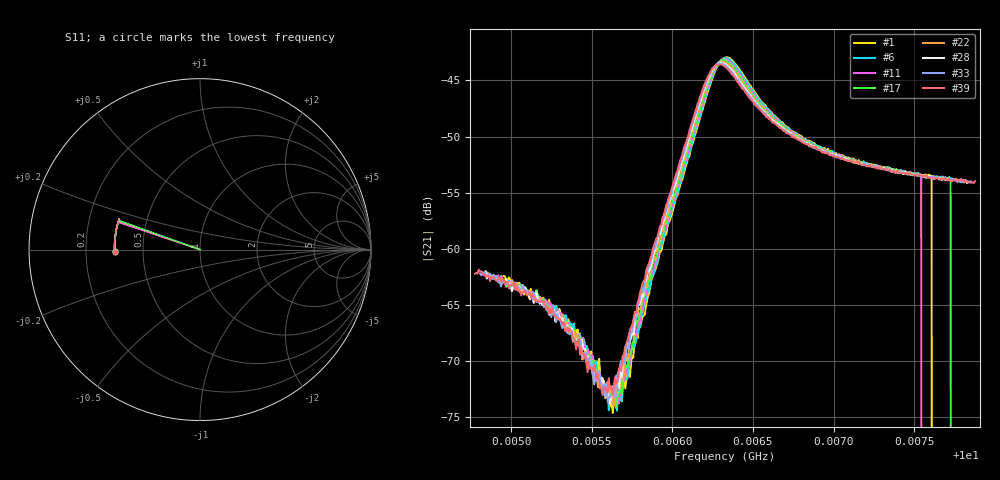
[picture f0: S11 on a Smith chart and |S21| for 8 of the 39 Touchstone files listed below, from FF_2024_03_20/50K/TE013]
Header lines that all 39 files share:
#  HZ  S  RI  R  50.00
! Rohde & Schwarz Vector Network Analyzer
! Rohde-Schwarz,ZNB20-2Port,1311601062101988,3.16
! freq[Hz]  re:S11  im:S11  re:S21  im:S21  re:S12  im:S12  re:S22  im:S22
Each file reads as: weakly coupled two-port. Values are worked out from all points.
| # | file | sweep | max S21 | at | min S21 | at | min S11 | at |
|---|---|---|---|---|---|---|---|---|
| 1 | 280_3_48.2016_50.1059303_72928.719_760.2619030475616_.s2p | 10.00495 GHz to 10.00778 GHz | -42.93 dB | 10.00634 GHz | -74.6 dB | 10.00563 GHz | -6.0 dB | 10.00498 GHz |
| 2 | 281_3_48.2016_50.1055565_73180.703_762.681155204773_.s2p | 10.00495 GHz to 10.00778 GHz | -42.94 dB | 10.00634 GHz | -74.7 dB | 10.00565 GHz | -6.0 dB | 10.00495 GHz |
| 3 | 282_3_48.201_50.1050186_73422.531_765.1038317680359_.s2p | 10.00494 GHz to 10.00778 GHz | -42.94 dB | 10.00633 GHz | -74.2 dB | 10.00565 GHz | -6.0 dB | 10.00497 GHz |
| 4 | 283_3_48.2015_50.1040344_73664.086_767.5409955978394_.s2p | 10.00495 GHz to 10.00777 GHz | -42.98 dB | 10.00633 GHz | -73.8 dB | 10.00565 GHz | -6.0 dB | 10.00495 GHz |
| 5 | 284_3_48.1993_50.1053238_73916.156_769.9635326862335_.s2p | 10.00493 GHz to 10.00779 GHz | -42.99 dB | 10.00633 GHz | -73.9 dB | 10.00566 GHz | -6.0 dB | 10.00493 GHz |
| 6 | 285_3_48.1993_50.104187_74148.023_772.3826024532318_.s2p | 10.00492 GHz to 10.0078 GHz | -42.99 dB | 10.00632 GHz | -74.4 dB | 10.00566 GHz | -6.0 dB | 10.00494 GHz |
| 7 | 286_3_48.203_50.1043396_74409.852_774.8032379150391_.s2p | 10.00493 GHz to 10.00778 GHz | -43.01 dB | 10.00634 GHz | -74.1 dB | 10.00564 GHz | -6.0 dB | 10.00495 GHz |
| 8 | 287_3_48.2012_50.1038857_74651.508_777.2969701290131_.s2p | 10.00494 GHz to 10.00778 GHz | -43.04 dB | 10.00632 GHz | -74.3 dB | 10.00562 GHz | -6.0 dB | 10.00495 GHz |
| 9 | 289_3_48.1975_50.1038742_75135.766_782.1004960536957_.s2p | 10.0049 GHz to 10.00781 GHz | -43.06 dB | 10.00633 GHz | -73.7 dB | 10.00562 GHz | -6.0 dB | 10.00491 GHz |
| 10 | 290_3_48.2024_50.1050835_75377.344_784.5466079711914_.s2p | 10.00491 GHz to 10.0078 GHz | -43.07 dB | 10.00633 GHz | -74.3 dB | 10.0056 GHz | -6.0 dB | 10.00493 GHz |
| 11 | 291_3_48.1992_50.1037941_75619.227_786.9477670192719_.s2p | 10.00491 GHz to 10.0078 GHz | -43.11 dB | 10.00632 GHz | -73.9 dB | 10.00563 GHz | -6.0 dB | 10.00491 GHz |
| 12 | 292_3_48.2014_50.1015129_75861.344_789.3695640563965_.s2p | 10.00489 GHz to 10.00782 GHz | -43.09 dB | 10.00632 GHz | -74.3 dB | 10.00559 GHz | -6.0 dB | 10.00489 GHz |
| 13 | 293_3_48.1998_50.1031914_76113.203_791.7683897018433_.s2p | 10.00491 GHz to 10.00779 GHz | -43.14 dB | 10.00632 GHz | -74.8 dB | 10.0056 GHz | -6.0 dB | 10.00493 GHz |
| 14 | 294_3_48.2014_50.1028099_76345.18_794.1887664794922_.s2p | 10.00489 GHz to 10.00781 GHz | -43.14 dB | 10.00632 GHz | -73.9 dB | 10.00567 GHz | -6.0 dB | 10.00491 GHz |
| 15 | 295_3_48.202_50.103569_76596.664_796.5899379253387_.s2p | 10.00489 GHz to 10.00781 GHz | -43.17 dB | 10.00633 GHz | -74.2 dB | 10.00564 GHz | -6.0 dB | 10.00493 GHz |
| 16 | 296_3_48.2015_50.1018181_76828.344_799.0362799167633_.s2p | 10.00488 GHz to 10.00782 GHz | -43.17 dB | 10.00631 GHz | -73.7 dB | 10.00563 GHz | -6.0 dB | 10.00489 GHz |
| 17 | 297_3_48.2031_50.1015892_77080.898_801.4480111598969_.s2p | 10.0049 GHz to 10.0078 GHz | -43.17 dB | 10.00632 GHz | -74.2 dB | 10.00565 GHz | -6.0 dB | 10.00492 GHz |
| 18 | 298_3_48.1983_50.1020432_77333.07_803.8813364505768_.s2p | 10.00489 GHz to 10.00781 GHz | -43.23 dB | 10.00633 GHz | -73.9 dB | 10.00562 GHz | -6.0 dB | 10.00492 GHz |
| 19 | 299_3_48.1989_50.1002235_78159.195_812.0703468322754_.s2p | 10.00486 GHz to 10.00784 GHz | -43.23 dB | 10.00631 GHz | -74.1 dB | 10.00565 GHz | -6.0 dB | 10.00487 GHz |
| 20 | 300_3_48.2016_50.09795_78411.172_814.4922721385956_.s2p | 10.00488 GHz to 10.00781 GHz | -43.28 dB | 10.00632 GHz | -74.5 dB | 10.00562 GHz | -6.0 dB | 10.00489 GHz |
| 21 | 301_3_48.1989_50.0987854_78643.352_816.9144153594971_.s2p | 10.00486 GHz to 10.00783 GHz | -43.28 dB | 10.0063 GHz | -73.7 dB | 10.00563 GHz | -6.0 dB | 10.00488 GHz |
| 22 | 302_3_48.2_50.0992393_78905.156_819.5056416988373_.s2p | 10.00485 GHz to 10.00783 GHz | -43.30 dB | 10.00631 GHz | -73.9 dB | 10.00564 GHz | -6.0 dB | 10.00487 GHz |
| 23 | 303_3_48.201_50.0978012_79166.859_821.9405863285065_.s2p | 10.00484 GHz to 10.00784 GHz | -43.32 dB | 10.00632 GHz | -74.0 dB | 10.00565 GHz | -6.0 dB | 10.00487 GHz |
| 24 | 304_3_48.2016_50.1008339_79378.75_824.3809213638306_.s2p | 10.00485 GHz to 10.00782 GHz | -43.32 dB | 10.0063 GHz | -74.2 dB | 10.00562 GHz | -6.0 dB | 10.00486 GHz |
| 25 | 305_3_48.1968_50.0987091_79640.563_826.8035969734192_.s2p | 10.00483 GHz to 10.00784 GHz | -43.34 dB | 10.00631 GHz | -73.8 dB | 10.00564 GHz | -6.0 dB | 10.00484 GHz |
| 26 | 306_3_48.2005_50.0976448_79882.625_829.2600693702698_.s2p | 10.00485 GHz to 10.00782 GHz | -43.35 dB | 10.00631 GHz | -73.6 dB | 10.0056 GHz | -6.0 dB | 10.00486 GHz |
| 27 | 307_3_48.2005_50.0964317_80134.289_831.6724064350128_.s2p | 10.00484 GHz to 10.00784 GHz | -43.36 dB | 10.0063 GHz | -74.1 dB | 10.00562 GHz | -6.0 dB | 10.00484 GHz |
| 28 | 308_3_48.2026_50.0960503_80376.297_834.1158337593079_.s2p | 10.00484 GHz to 10.00783 GHz | -43.40 dB | 10.0063 GHz | -73.8 dB | 10.00561 GHz | -6.0 dB | 10.00487 GHz |
| 29 | 309_3_48.2005_50.0956764_80608.219_836.554630279541_.s2p | 10.00482 GHz to 10.00785 GHz | -43.39 dB | 10.0063 GHz | -74.4 dB | 10.0056 GHz | -6.0 dB | 10.00482 GHz |
| 30 | 310_3_48.1979_50.095974_80880.094_838.9618270397186_.s2p | 10.00481 GHz to 10.00785 GHz | -43.44 dB | 10.0063 GHz | -73.5 dB | 10.0056 GHz | -6.0 dB | 10.00481 GHz |
| 31 | 311_3_48.2005_50.0968857_81101.914_841.3969542980194_.s2p | 10.0048 GHz to 10.00786 GHz | -43.45 dB | 10.00631 GHz | -73.5 dB | 10.00561 GHz | -6.0 dB | 10.0048 GHz |
| 32 | 312_3_48.1989_50.0943222_81363.656_843.8301558494568_.s2p | 10.00481 GHz to 10.00785 GHz | -43.45 dB | 10.00629 GHz | -73.7 dB | 10.00558 GHz | -6.0 dB | 10.00483 GHz |
| 33 | 313_3_48.1978_50.0934868_81606.32_846.32080245018_.s2p | 10.00481 GHz to 10.00785 GHz | -43.47 dB | 10.00629 GHz | -73.6 dB | 10.0056 GHz | -6.0 dB | 10.00481 GHz |
| 34 | 314_3_48.1999_50.0929565_81848.086_848.7392995357513_.s2p | 10.0048 GHz to 10.00786 GHz | -43.50 dB | 10.0063 GHz | -73.0 dB | 10.00565 GHz | -6.0 dB | 10.00482 GHz |
| 35 | 315_3_48.2004_50.092804_82089.969_851.1709585189819_.s2p | 10.0048 GHz to 10.00786 GHz | -43.49 dB | 10.00629 GHz | -73.0 dB | 10.00555 GHz | -6.0 dB | 10.0048 GHz |
| 36 | 316_3_48.2026_50.0924225_82331.469_853.6491329669952_.s2p | 10.0048 GHz to 10.00786 GHz | -43.48 dB | 10.00629 GHz | -73.4 dB | 10.00557 GHz | -6.0 dB | 10.00485 GHz |
| 37 | 317_3_48.2031_50.0931091_82603.742_856.2451083660126_.s2p | 10.00481 GHz to 10.00784 GHz | -43.52 dB | 10.0063 GHz | -73.2 dB | 10.0056 GHz | -6.0 dB | 10.00481 GHz |
| 38 | 318_3_48.1998_50.092804_82855.852_858.6435852050781_.s2p | 10.0048 GHz to 10.00786 GHz | -43.55 dB | 10.0063 GHz | -73.5 dB | 10.00559 GHz | -6.0 dB | 10.0048 GHz |
| 39 | 319_3_48.2009_50.0909081_83097.773_861.0789868831635_.s2p | 10.00478 GHz to 10.00788 GHz | -43.55 dB | 10.0063 GHz | -73.1 dB | 10.00557 GHz | -6.0 dB | 10.00478 GHz |
